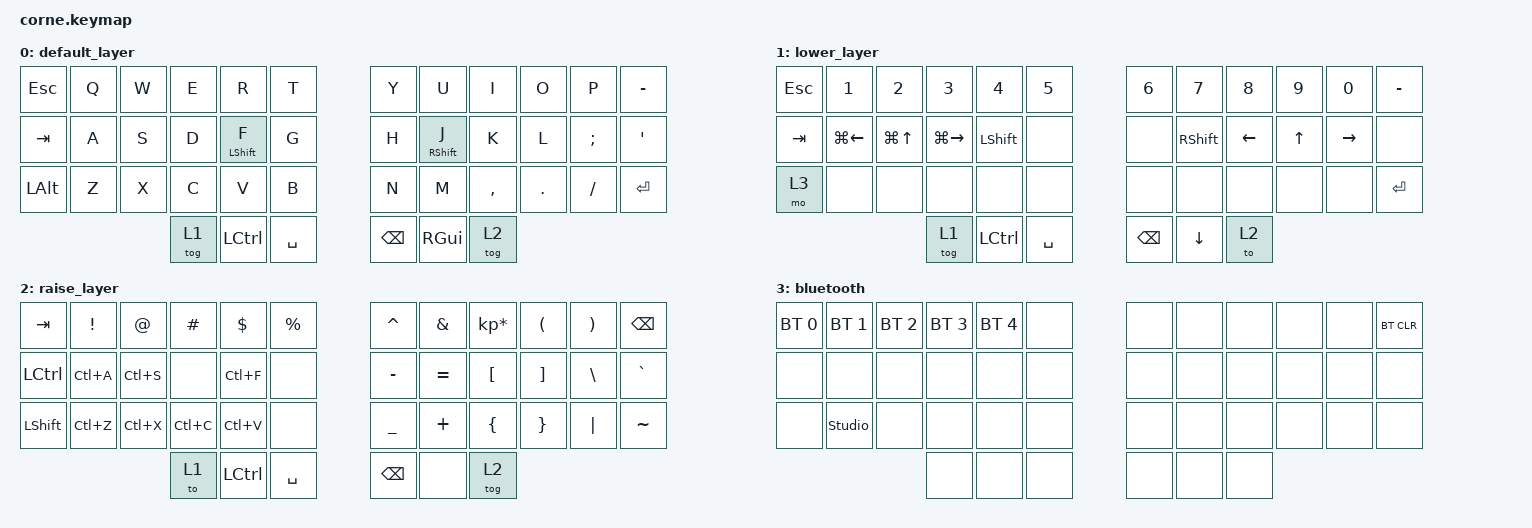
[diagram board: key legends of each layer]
#include <behaviors.dtsi>
#include <dt-bindings/zmk/bt.h>
#include <dt-bindings/zmk/keys.h>

/ {
    behaviors {
        bhm: balanced_homerow_mods {
            compatible = "zmk,behavior-hold-tap";
            label = "HOMEROW_MODS";
            #binding-cells = <2>;
            tapping-term-ms = <200>;    // <---[[moderate duration]]
            quick-tap-ms = <0>;
            flavor = "balanced";
            bindings = <&kp>, <&kp>;
        };
    };

    keymap {
        compatible = "zmk,keymap";

        default_layer {
            bindings = <
&kp ESC       &kp Q  &kp W  &kp E   &kp R          &kp T        &kp Y     &kp U          &kp I      &kp O    &kp P          &kp MINUS
&kp TAB       &kp A  &kp S  &kp D   &bhm LSHIFT F  &kp G        &kp H     &bhm RSHIFT J  &kp K      &kp L    &kp SEMICOLON  &kp APOSTROPHE
&kp LEFT_ALT  &kp Z  &kp X  &kp C   &kp V          &kp B        &kp N     &kp M          &kp COMMA  &kp DOT  &kp FSLH       &kp ENTER
                            &tog 1  &kp LCTRL      &kp SPACE    &kp BSPC  &kp RIGHT_GUI  &tog 2
            >;
        };

        lower_layer {
            bindings = <
&kp ESC  &kp NUMBER_1  &kp NUMBER_2      &kp NUMBER_3   &kp NUMBER_4    &kp NUMBER_5    &kp NUMBER_6  &kp NUMBER_7     &kp NUMBER_8  &kp NUMBER_9  &kp NUMBER_0  &kp MINUS
&kp TAB  &kp LG(LEFT)  &kp LG(UP_ARROW)  &kp LG(RIGHT)  &kp LEFT_SHIFT  &none           &none         &kp RIGHT_SHIFT  &kp LEFT      &kp UP        &kp RIGHT     &none
&mo 3    &none         &none             &none          &none           &none           &none         &none            &none         &none         &none         &kp ENTER
                                         &tog 1         &kp LCTRL       &kp SPACE       &kp BSPC      &kp DOWN         &to 2
            >;
        };

        raise_layer {
            bindings = <
&kp TAB    &kp EXCL   &kp AT     &kp HASH   &kp DLLR   &kp PRCNT    &kp CARET  &kp AMPS   &kp KP_MULTIPLY  &kp LPAR  &kp RPAR  &kp BSPC
&kp LCTRL  &kp LC(A)  &kp LC(S)  &none      &kp LC(F)  &none        &kp MINUS  &kp EQUAL  &kp LBKT         &kp RBKT  &kp BSLH  &kp GRAVE
&kp LSHFT  &kp LC(Z)  &kp LC(X)  &kp LC(C)  &kp LC(V)  &none        &kp UNDER  &kp PLUS   &kp LBRC         &kp RBRC  &kp PIPE  &kp TILDE
                                 &to 1      &kp LCTRL  &kp SPACE    &kp BSPC   &none      &tog 2
            >;
        };

        bluetooth {
            bindings = <
&bt BT_SEL 0  &bt BT_SEL 1    &bt BT_SEL 2  &bt BT_SEL 3  &bt BT_SEL 4  &none    &none  &none  &none  &none  &none  &bt BT_CLR
&none         &none           &none         &none         &none         &none    &none  &none  &none  &none  &none  &none
&none         &studio_unlock  &none         &none         &none         &none    &none  &none  &none  &none  &none  &none
                                            &none         &none         &none    &none  &none  &none
            >;
        };
    };
};
